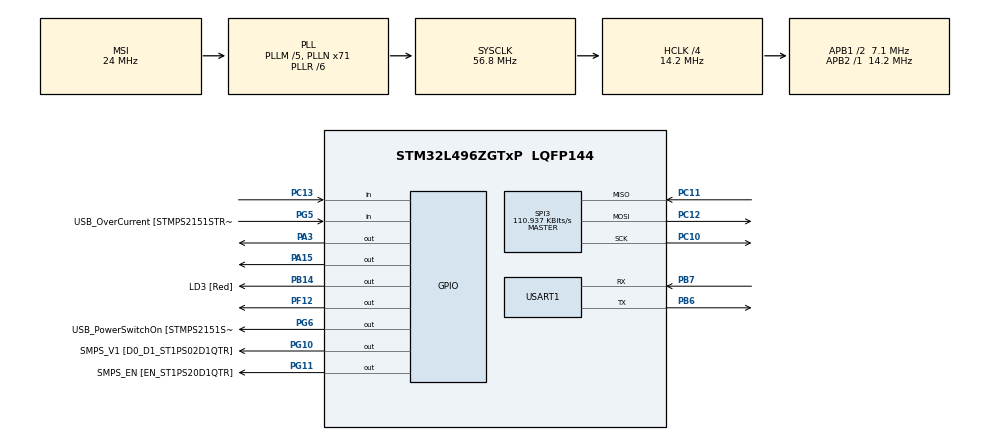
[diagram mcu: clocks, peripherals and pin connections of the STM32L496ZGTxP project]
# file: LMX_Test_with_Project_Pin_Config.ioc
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Mcu.Family=STM32L4
Mcu.Name=STM32L496ZGTxP
Mcu.Package=LQFP144
NVIC.PriorityGroup=NVIC_PRIORITYGROUP_4
PA10.GPIO_Label=USB_ID
PA10.Signal=USB_OTG_FS_ID
PA11.GPIO_Label=USB_DM
PA11.Signal=USB_OTG_FS_DM
PA12.GPIO_Label=USB_DP
PA12.Signal=USB_OTG_FS_DP
PA13\ (JTMS/SWDIO).GPIO_Label=TMS
PA13\ (JTMS/SWDIO).Mode=Trace_Asynchronous_SW
PA13\ (JTMS/SWDIO).Signal=SYS_JTMS-SWDIO
PA14\ (JTCK/SWCLK).GPIO_Label=TCK
PA14\ (JTCK/SWCLK).Mode=Trace_Asynchronous_SW
PA14\ (JTCK/SWCLK).Signal=SYS_JTCK-SWCLK
PA15\ (JTDI).Signal=GPIO_Output
PA3.Signal=GPIO_Output
PA5.Signal=SPI1_SCK
PA6.Signal=SPI1_MISO
PA7.Signal=SPI1_MOSI
PA8.GPIO_Label=USB_SOF [TP1]
PA8.Signal=USB_OTG_FS_SOF
PA9.GPIO_Label=USB_VBUS
PA9.Signal=USB_OTG_FS_VBUS
PB14.GPIO_Label=LD3 [Red]
PB14.Signal=GPIO_Output
PB3\ (JTDO/TRACESWO).GPIO_Label=SWO
PB3\ (JTDO/TRACESWO).Mode=Trace_Asynchronous_SW
PB3\ (JTDO/TRACESWO).Signal=SYS_JTDO-SWO
PB6.Mode=Asynchronous
PB6.Signal=USART1_TX
PB7.Mode=Asynchronous
PB7.Signal=USART1_RX
PC10.Mode=Full_Duplex_Master
PC10.Signal=SPI3_SCK
PC11.Mode=Full_Duplex_Master
PC11.Signal=SPI3_MISO
PC12.Mode=Full_Duplex_Master
PC12.Signal=SPI3_MOSI
PC13.Signal=GPIO_Input
PC14-OSC32_IN\ (PC14).Mode=LSE-External-Oscillator
PC14-OSC32_IN\ (PC14).Signal=RCC_OSC32_IN
PC15-OSC32_OUT\ (PC15).Mode=LSE-External-Oscillator
PC15-OSC32_OUT\ (PC15).Signal=RCC_OSC32_OUT
PF12.Signal=GPIO_Output
PG10.GPIO_Label=SMPS_V1 [D0_D1_ST1PS02D1QTR]
PG10.Signal=GPIO_Output
PG11.GPIO_Label=SMPS_EN [EN_ST1PS20D1QTR]
PG11.Signal=GPIO_Output
PG5.GPIO_Label=USB_OverCurrent [STMPS2151STR_FAULT]
PG5.Signal=GPIO_Input
PG6.GPIO_Label=USB_PowerSwitchOn [STMPS2151STR_EN]
PG6.Signal=GPIO_Output
PH0-OSC_IN\ (PH0).GPIO_Label=MCO
PH0-OSC_IN\ (PH0).Signal=RCC_OSC_IN
PH1-OSC_OUT\ (PH1).Signal=RCC_OSC_OUT
ProjectManager.HeapSize=0x200
ProjectManager.StackSize=0x400
ProjectManager.TargetToolchain=STM32CubeIDE
RCC.48MHZClocksFreq_Value=24000000
RCC.ADCFreq_Value=48000000
RCC.AHBCLKDivider=RCC_SYSCLK_DIV4
RCC.AHBFreq_Value=14200000
RCC.APB1CLKDivider=RCC_HCLK_DIV2
RCC.APB1Freq_Value=7100000
RCC.APB1TimFreq_Value=14200000
RCC.APB2Freq_Value=14200000
RCC.APB2TimFreq_Value=14200000
RCC.CortexFreq_Value=14200000
RCC.HCLKFreq_Value=14200000
RCC.HSE_VALUE=8000000
RCC.HSI48_VALUE=48000000
RCC.HSI_VALUE=16000000
RCC.MSIClockRange=RCC_MSIRANGE_9
RCC.MSI_VALUE=24000000
RCC.PLLM=5
RCC.PLLMUL=RCC_PLL_MUL9
RCC.PLLN=71
RCC.PLLR=RCC_PLLR_DIV6
RCC.PLLSAI1N=20
RCC.PRESCALERUSB=RCC_USBCLKSOURCE_PLL_DIV1_5
RCC.SYSCLKFreq_VALUE=56800000
RCC.SYSCLKSource=RCC_SYSCLKSOURCE_PLLCLK
RCC.SYSCLKSourceVirtual=RCC_SYSCLKSOURCE_PLLCLK
RCC.USBFreq_Value=48000000
RCC.VCOOutputFreq_Value=340800000
SPI3.BaudRatePrescaler=SPI_BAUDRATEPRESCALER_64
SPI3.CLKPhase=SPI_PHASE_2EDGE
SPI3.CLKPolarity=SPI_POLARITY_HIGH
SPI3.CalculateBaudRate=110.937 KBits/s
SPI3.DataSize=SPI_DATASIZE_8BIT
SPI3.Direction=SPI_DIRECTION_2LINES
SPI3.Mode=SPI_MODE_MASTER
SPI3.VirtualType=VM_MASTER
USART1.VirtualMode-Asynchronous=VM_ASYNC
board=NUCLEO-L496ZG-P

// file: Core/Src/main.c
/* USER CODE BEGIN Header */
/**
  ******************************************************************************
  * @file           : main.c
  * @brief          : Main program body
  * @Author	    : Ronak Sharma
  ******************************************************************************
  * @attention
  * Make sure to See the Baudrate of Slave device, Set the Baudrate accordingly
  *
  * Copyright (c) 2022 STMicroelectronics.
  * All rights reserved.
  *
  * This software is licensed under terms that can be found in the LICENSE file
  * in the root directory of this software component.
  * If no LICENSE file comes with this software, it is provided AS-IS.
  *
  ******************************************************************************
  */
/* USER CODE END Header */
#include "main.h"

/* USER CODE BEGIN Includes */
#include<stdio.h>
#include<string.h>
/* USER CODE END Includes */

SPI_HandleTypeDef hspi3;

UART_HandleTypeDef huart1;

/* USER CODE BEGIN PV */

//uint8_t spiData[2];
/*
uint8_t Rx_Adr;
uint8_t Rx_data[2];
uint8_t Buf[50]="Application is Running\r\n";
uint8_t Tx_R41[3]={0x29,0x00,0x00};
*/
/* USER CODE END PV */

void SystemClock_Config(void);
static void MX_GPIO_Init(void);
static void MX_USART1_UART_Init(void);
static void MX_SPI3_Init(void);
/* USER CODE BEGIN PFP */
static void test41(void);
void LMX_default_RegConfig_Value_7point5_GHz(void);
/* USER CODE END PFP */

int main(void)
{
  /* USER CODE BEGIN 1 */
	//uint8_t Tx_R44[3]={0x2C,0x00,0x00};
	//uint8_t Tx_R45[3]={0x2D,0x00,0x00};
	//uint8_t Tx_R36[3]={0x24,0x00,0x41};
	//uint8_t Tx_R43[3]={0x2B,0x00,0x00};
	//uint8_t Tx_R0[3]={0x00,0x40,0x70};
	//uint8_t Rx_Adr;
	//uint8_t Rx_data[2];
	uint8_t Buf[50]="Application is Running\r\n";

  /* USER CODE END 1 */

  /* MCU Configuration--------------------------------------------------------*/

  /* Reset of all peripherals, Initializes the Flash interface and the Systick. */
  HAL_Init();

  /* Configure the system clock */
  SystemClock_Config();

  /* Initialize all configured peripherals */
  MX_GPIO_Init();
  MX_USART1_UART_Init();
  MX_SPI3_Init();
  /* USER CODE BEGIN 2 */
  HAL_UART_Transmit(&huart1, Buf, strlen((char*)Buf), 100);

  strcpy((char*)Buf,"\nIn the Main loop\r\n");
  HAL_UART_Transmit(&huart1, Buf, strlen((char*)Buf), 100);

  LMX_default_RegConfig_Value_7point5_GHz();

  /* USER CODE END 2 */

  /* Infinite loop */
  while (1)
  {

    /* USER CODE BEGIN 3 */
/*
	  HAL_GPIO_WritePin(GPIOA, GPIO_PIN_15, GPIO_PIN_SET);
	  while(!HAL_GPIO_ReadPin(GPIOC, GPIO_PIN_13));
	  HAL_Delay(200);
*/

	  strcpy((char*)Buf,"\nIn the Main loop\r\n");
	  HAL_UART_Transmit(&huart1, Buf, strlen((char*)Buf), 100);

	  LMX_default_RegConfig_Value_7point5_GHz();

	  while(!HAL_GPIO_ReadPin(GPIOC, GPIO_PIN_13));
	  HAL_Delay(200);

	  test41();
/*

	  HAL_GPIO_WritePin(GPIOA, GPIO_PIN_15, GPIO_PIN_RESET); //CS pin low
	  HAL_SPI_Transmit(&hspi3, Tx_R0, 3, 100); // SPI Transimt
	  HAL_GPIO_WritePin(GPIOA, GPIO_PIN_15, GPIO_PIN_SET); //CS high

	  //Start SPI Transmit
	  HAL_GPIO_WritePin(GPIOA, GPIO_PIN_15, GPIO_PIN_RESET); //CS pin low
	  //HAL_SPI_Transmit(&hspi3, Tx_R44, 3, 100); // SPI Transimt
	 // HAL_SPI_Transmit(&hspi3, Tx_R45, 3, 100); // SPI Transimt
	  HAL_SPI_Transmit(&hspi3, Tx_R36, 3, 100); // SPI Transimt
	 // HAL_SPI_Transmit(&hspi3, Tx_R43, 3, 100); // SPI Transimt
	 // HAL_SPI_Transmit(&hspi3, Tx_R0, 3, 100); // SPI Transimt
	  HAL_GPIO_WritePin(GPIOA, GPIO_PIN_15, GPIO_PIN_SET); //CS high

	  HAL_GPIO_WritePin(GPIOA, GPIO_PIN_15, GPIO_PIN_RESET); //CS pin low
	  HAL_SPI_Transmit(&hspi3, Tx_R0, 3, 100); // SPI Transimt
	  HAL_GPIO_WritePin(GPIOA, GPIO_PIN_15, GPIO_PIN_SET); //CS high

	  HAL_Delay(50);
	  strcpy((char*)Buf,"Data Sent\r\n");
	  HAL_UART_Transmit(&huart1, Buf, strlen((char*)Buf), 100);

	  // Start SPI Receive
	  Rx_Adr=0xA4;
	  HAL_GPIO_WritePin(GPIOA, GPIO_PIN_15, GPIO_PIN_RESET); //CS pin low
	  HAL_SPI_Transmit(&hspi3, &Rx_Adr, 1, 100); // SPI Transimt
	  HAL_SPI_Receive(&hspi3, Rx_data, 2, 100);
	  HAL_GPIO_WritePin(GPIOA, GPIO_PIN_15, GPIO_PIN_SET); //CS high
	  sprintf((char*)Buf,"\n\rReceive data is : 0x%X 0x%X",Rx_data[0],Rx_data[1]);
	  HAL_UART_Transmit(&huart1, Buf, strlen((char*)Buf), 100);

	  Rx_Adr=0x80;
	  HAL_GPIO_WritePin(GPIOA, GPIO_PIN_15, GPIO_PIN_RESET); //CS pin low
	  HAL_SPI_Transmit(&hspi3, &Rx_Adr, 1, 100); // SPI Transimt
	  HAL_SPI_Receive(&hspi3, Rx_data, 2, 100);
	  HAL_GPIO_WritePin(GPIOA, GPIO_PIN_15, GPIO_PIN_SET); //CS high
	  sprintf((char*)Buf,"\nReceive data is : 0x%X 0x%X",Rx_data[0],Rx_data[1]);
	  HAL_UART_Transmit(&huart1, Buf, strlen((char*)Buf), 100);
	*/

  }
  /* USER CODE END 3 */
}

/*
 * @brief Test41 Register R41 to test the value
 * @retval None
 */
void test41(void){
	static uint8_t i=0x00;
	static uint8_t k=0x00;
	uint8_t Tx_R41[3]={0x29,k,i};
	uint8_t Rx_41_Adr=0xA9;
	uint8_t Rx_41_data[2];

	uint8_t Buf[50];
	uint8_t Tx_R0[3]={0x00,0x40,0x70};
	uint8_t ch;

	//uint8_t Rx_Adr;
	//uint8_t Rx_data[2];

	strcpy((char*)Buf,"\nIn the Test Function loop\r\n");
	HAL_UART_Transmit(&huart1, Buf, strlen((char*)Buf), 100);

	 while(i<256){

	 Tx_R41[2]=i;

	 ///////////////////////////////////////////////////////////////////////////////////////
	 strcpy((char*)Buf,"\n\rEnter number 1 to chage the phase shift: ");
	 HAL_UART_Transmit(&huart1, Buf, strlen((char*)Buf),100);

	 HAL_UART_Receive(&huart1, &ch, 1, HAL_MAX_DELAY);

	 while(ch!=49);
	 //strcpy((char*)Buf,"\n\rI am executing ");
	 //HAL_UART_Transmit(&huart1, Buf, strlen((char*)Buf),100);
	 ch=0;
	////////////////////////////////////////////////////////////////////////////////////////

	 //while(!HAL_GPIO_ReadPin(GPIOC, GPIO_PIN_13));
	 HAL_Delay(200);

	 HAL_GPIO_WritePin(GPIOA, GPIO_PIN_15, GPIO_PIN_RESET); //CS pin low
	 HAL_SPI_Transmit(&hspi3, Tx_R41, 3, 100); // SPI Transimt
	 HAL_GPIO_WritePin(GPIOA, GPIO_PIN_15, GPIO_PIN_SET); //CS high

	 HAL_GPIO_WritePin(GPIOA, GPIO_PIN_15, GPIO_PIN_RESET); //CS pin low
	 HAL_SPI_Transmit(&hspi3, Tx_R0, 3, 100); // SPI Transimt
	 HAL_GPIO_WritePin(GPIOA, GPIO_PIN_15, GPIO_PIN_SET); //CS high

	 HAL_GPIO_WritePin(GPIOA, GPIO_PIN_15, GPIO_PIN_RESET); //CS pin low
	 HAL_SPI_Transmit(&hspi3, &Rx_41_Adr, 1, 100); // SPI Transimt
	 HAL_SPI_Receive(&hspi3, Rx_41_data, 2, 100);
	 HAL_GPIO_WritePin(GPIOA, GPIO_PIN_15, GPIO_PIN_SET); //CS high
	 sprintf((char*)Buf,"\nReceive data is : 0x%X 0x%X",Rx_41_data[0],Rx_41_data[1]);
	 HAL_UART_Transmit(&huart1, Buf, strlen((char*)Buf), 100);

	 i=i+5;
	 }

	 while(k<106){

	 	 Tx_R41[1]=k;
	 	 while(!HAL_GPIO_ReadPin(GPIOC, GPIO_PIN_13));
	 	 HAL_Delay(200);

	 	 HAL_GPIO_WritePin(GPIOA, GPIO_PIN_15, GPIO_PIN_RESET); //CS pin low
	 	 HAL_SPI_Transmit(&hspi3, Tx_R41, 3, 100); // SPI Transimt
	 	 HAL_GPIO_WritePin(GPIOA, GPIO_PIN_15, GPIO_PIN_SET); //CS high

	 	 HAL_GPIO_WritePin(GPIOA, GPIO_PIN_15, GPIO_PIN_RESET); //CS pin low
	 	 HAL_SPI_Transmit(&hspi3, Tx_R0, 3, 100); // SPI Transimt
	 	 HAL_GPIO_WritePin(GPIOA, GPIO_PIN_15, GPIO_PIN_SET); //CS high

	 	 HAL_GPIO_WritePin(GPIOA, GPIO_PIN_15, GPIO_PIN_RESET); //CS pin low
	 	 HAL_SPI_Transmit(&hspi3, &Rx_41_Adr, 1, 100); // SPI Transimt
	 	 HAL_SPI_Receive(&hspi3, Rx_41_data, 2, 100);
	 	 HAL_GPIO_WritePin(GPIOA, GPIO_PIN_15, GPIO_PIN_SET); //CS high
	 	 sprintf((char*)Buf,"\nReceive data is : 0x%X 0x%X",Rx_41_data[0],Rx_41_data[1]);
	 	 HAL_UART_Transmit(&huart1, Buf, strlen((char*)Buf), 100);

	 	 k=k+5;
	 	 }

}

/*
 * @brief Default function for LMX setup
 * @Param None
 * @retval None
 */

void LMX_default_RegConfig_Value_7point5_GHz(void){

	int R[123]={0x7A0000 ,0x790000 ,0x780000 ,0x770009 ,0x760000 ,0x750000 ,0x740EEE ,0x73DF8F ,0x72C00B ,0x718221 ,0x70FFFF ,0x6F0000 ,0x6E001F ,0x6D0000 ,0x6C0000 ,0x6B0000 ,
			0x6A0000 ,0x69000A ,0x680014 ,0x670014 ,0x660028 ,0x6503E8 ,0x640533 ,0x6319B9 ,0x621C80 ,0x610000 ,0x6017F8 ,0x5F0000 ,0x5E0000 ,0x5D1000 ,0x5C0000 ,0x5B0000 ,
			0x5A0000 ,0x590000 ,0x5803FF ,0x57FF00 ,0x560040 ,0x550000 ,0x540040 ,0x530F00 ,0x520000 ,0x510000 ,0x5001C0 ,0x4F0112 ,0x4E0001 ,0x4D06CC ,0x4C0243 ,0x4B1350 ,
			0x4A97E5 ,0x499D7D ,0x480008 ,0x478801 ,0x46001E ,0x450011 ,0x440000 ,0x430000 ,0x42003F ,0x410001 ,0x404080 ,0x3FC350 ,0x3E0000 ,0x3D03E8 ,0x3C01F4 ,0x3B1388 ,
			0x3A0000 ,0x390001 ,0x380001 ,0x370002 ,0x360000 ,0x350000 ,0x340000 ,0x33203F ,0x320080 ,0x310000 ,0x304180 ,0x2F0300 ,0x2E0300 ,0x2D0000 ,0x2C0000 ,0x2B0000 ,
			0x2A0000 ,0x290000 ,0x280000 ,0x270168 ,0x260000 ,0x250500 ,0x240039 ,0x233140 ,0x220010 ,0x210000 ,0x201141 ,0x1F0401 ,0x1EB18C ,0x1D318C ,0x1C0639 ,0x1B8001 ,
			0x1A0DB0 ,0x190624 ,0x180E34 ,0x171103 ,0x162281 ,0x151C64 ,0x142750 ,0x132138 ,0x1203E8 ,0x111440 ,0x10271C ,0x0F2001 ,0x0E3001 ,0x0D0038 ,0x0C0408 ,0x0B0603 ,
			0x0A0880 ,0x090005 ,0x08C802 ,0x0700C8 ,0x060A43 ,0x053832 ,0x044204 ,0x030041 ,0x0281F4 ,0x01D7A0 ,0x004070 };

	uint8_t S_Buf[50];
	uint8_t Adr;
	uint8_t data[2];

	Adr=0x00;
	data[0]=0x00;
	data[1]=0x00;

	for(int8_t i=0;i<=15;i++)
		{
			//Bit wise operations to get the address and data to be sent
			Adr = (R[i] & 0xFF0000)>>16;
			data[0]=(R[i] & 0xFF00)>>8;
			data[1]=(R[i] & 0xFF);

			sprintf((char *)S_Buf,"Address and Data : 0x%X 0x%X 0x%X \n",Adr,data[0],data[1]);
			HAL_UART_Transmit(&huart1, S_Buf, strlen((char*)S_Buf),100);

			HAL_GPIO_WritePin(GPIOA, GPIO_PIN_15, GPIO_PIN_RESET);//CS Pin low
			HAL_SPI_Transmit(&hspi3, &Adr, 1, 100); //Transmit address
			HAL_SPI_Transmit(&hspi3, &data[0], 2, 100); //Transmit data
			HAL_GPIO_WritePin(GPIOA, GPIO_PIN_15, GPIO_PIN_SET); // CS pin High
		}
	HAL_Delay(10);

	for(int8_t i=16;i<=31;i++)
		{
			//Bit wise operations to get the address and data to be sent
			Adr = (R[i] & 0xFF0000)>>16;
			data[0]=(R[i] & 0xFF00)>>8;
			data[1]=(R[i] & 0xFF);

			sprintf((char *)S_Buf,"Address and Data : 0x%X 0x%X 0x%X \n",Adr,data[0],data[1]);
			HAL_UART_Transmit(&huart1, S_Buf, strlen((char*)S_Buf),100);

			HAL_GPIO_WritePin(GPIOA, GPIO_PIN_15, GPIO_PIN_RESET);//CS Pin low
			HAL_SPI_Transmit(&hspi3, &Adr, 1, 100); //Transmit address
			HAL_SPI_Transmit(&hspi3, &data[0], 2, 100); //Transmit data
			HAL_GPIO_WritePin(GPIOA, GPIO_PIN_15, GPIO_PIN_SET); // CS pin High
		}
	HAL_Delay(10);

	for(int8_t i=32;i<=47;i++)
		{
			//Bit wise operations to get the address and data to be sent
			Adr = (R[i] & 0xFF0000)>>16;
			data[0]=(R[i] & 0xFF00)>>8;
			data[1]=(R[i] & 0xFF);

			sprintf((char *)S_Buf,"Address and Data : 0x%X 0x%X 0x%X \n",Adr,data[0],data[1]);
			HAL_UART_Transmit(&huart1, S_Buf, strlen((char*)S_Buf),100);

			HAL_GPIO_WritePin(GPIOA, GPIO_PIN_15, GPIO_PIN_RESET);//CS Pin low
			HAL_SPI_Transmit(&hspi3, &Adr, 1, 100); //Transmit address
			HAL_SPI_Transmit(&hspi3, &data[0], 2, 100); //Transmit data
			HAL_GPIO_WritePin(GPIOA, GPIO_PIN_15, GPIO_PIN_SET); // CS pin High
		}
	HAL_Delay(10);

	for(int8_t i=48;i<=63;i++)
		{
			//Bit wise operations to get the address and data to be sent
			Adr = (R[i] & 0xFF0000)>>16;
			data[0]=(R[i] & 0xFF00)>>8;
			data[1]=(R[i] & 0xFF);

			sprintf((char *)S_Buf,"Address and Data : 0x%X 0x%X 0x%X \n",Adr,data[0],data[1]);
			HAL_UART_Transmit(&huart1, S_Buf, strlen((char*)S_Buf),100);

			HAL_GPIO_WritePin(GPIOA, GPIO_PIN_15, GPIO_PIN_RESET);//CS Pin low
			HAL_SPI_Transmit(&hspi3, &Adr, 1, 100); //Transmit address
			HAL_SPI_Transmit(&hspi3, &data[0], 2, 100); //Transmit data
			HAL_GPIO_WritePin(GPIOA, GPIO_PIN_15, GPIO_PIN_SET); // CS pin High
		}
	HAL_Delay(10);

	for(int8_t i=64;i<=79;i++)
		{
			//Bit wise operations to get the address and data to be sent
			Adr = (R[i] & 0xFF0000)>>16;
			data[0]=(R[i] & 0xFF00)>>8;
			data[1]=(R[i] & 0xFF);

			sprintf((char *)S_Buf,"Address and Data : 0x%X 0x%X 0x%X \n",Adr,data[0],data[1]);
			HAL_UART_Transmit(&huart1, S_Buf, strlen((char*)S_Buf),100);

			HAL_GPIO_WritePin(GPIOA, GPIO_PIN_15, GPIO_PIN_RESET);//CS Pin low
			HAL_SPI_Transmit(&hspi3, &Adr, 1, 100); //Transmit address
			HAL_SPI_Transmit(&hspi3, &data[0], 2, 100); //Transmit data
			HAL_GPIO_WritePin(GPIOA, GPIO_PIN_15, GPIO_PIN_SET); // CS pin High
		}
	HAL_Delay(10);

	for(int8_t i=80;i<=95;i++)
		{
			//Bit wise operations to get the address and data to be sent
			Adr = (R[i] & 0xFF0000)>>16;
			data[0]=(R[i] & 0xFF00)>>8;
			data[1]=(R[i] & 0xFF);

			sprintf((char *)S_Buf,"Address and Data : 0x%X 0x%X 0x%X \n",Adr,data[0],data[1]);
			HAL_UART_Transmit(&huart1, S_Buf, strlen((char*)S_Buf),100);

			HAL_GPIO_WritePin(GPIOA, GPIO_PIN_15, GPIO_PIN_RESET);//CS Pin low
			HAL_SPI_Transmit(&hspi3, &Adr, 1, 100); //Transmit address
			HAL_SPI_Transmit(&hspi3, &data[0], 2, 100); //Transmit data
			HAL_GPIO_WritePin(GPIOA, GPIO_PIN_15, GPIO_PIN_SET); // CS pin High
		}
	HAL_Delay(10);

	for(int8_t i=96;i<=111;i++)
		{
			//Bit wise operations to get the address and data to be sent
			Adr = (R[i] & 0xFF0000)>>16;
			data[0]=(R[i] & 0xFF00)>>8;
			data[1]=(R[i] & 0xFF);

			sprintf((char *)S_Buf,"Address and Data : 0x%X 0x%X 0x%X \n",Adr,data[0],data[1]);
			HAL_UART_Transmit(&huart1, S_Buf, strlen((char*)S_Buf),100);

			HAL_GPIO_WritePin(GPIOA, GPIO_PIN_15, GPIO_PIN_RESET);//CS Pin low
			HAL_SPI_Transmit(&hspi3, &Adr, 1, 100); //Transmit address
			HAL_SPI_Transmit(&hspi3, &data[0], 2, 100); //Transmit data
			HAL_GPIO_WritePin(GPIOA, GPIO_PIN_15, GPIO_PIN_SET); // CS pin High
		}
	HAL_Delay(10);

	for(int8_t i=112;i<=122;i++)
		{
			//Bit wise operations to get the address and data to be sent
			Adr = (R[i] & 0xFF0000)>>16;
			data[0]=(R[i] & 0xFF00)>>8;
			data[1]=(R[i] & 0xFF);

			sprintf((char *)S_Buf,"Address and Data : 0x%X 0x%X 0x%X \n",Adr,data[0],data[1]);
			HAL_UART_Transmit(&huart1, S_Buf, strlen((char*)S_Buf),100);

			HAL_GPIO_WritePin(GPIOA, GPIO_PIN_15, GPIO_PIN_RESET);//CS Pin low
			HAL_SPI_Transmit(&hspi3, &Adr, 1, 100); //Transmit address
			HAL_SPI_Transmit(&hspi3, &data[0], 2, 100); //Transmit data
			HAL_GPIO_WritePin(GPIOA, GPIO_PIN_15, GPIO_PIN_SET); // CS pin High
		}
	HAL_Delay(10);

   strcpy((char *)S_Buf,"All registers are set for Default values \n");
   HAL_UART_Transmit(&huart1, S_Buf, strlen((char*)S_Buf),1000);

}

void SystemClock_Config(void)
{
  RCC_OscInitTypeDef RCC_OscInitStruct = {0};
  RCC_ClkInitTypeDef RCC_ClkInitStruct = {0};

  /** Configure the main internal regulator output voltage
  */
  if (HAL_PWREx_ControlVoltageScaling(PWR_REGULATOR_VOLTAGE_SCALE1) != HAL_OK)
  {
    Error_Handler();
  }

  /** Initializes the RCC Oscillators according to the specified parameters
  * in the RCC_OscInitTypeDef structure.
  */
  RCC_OscInitStruct.OscillatorType = RCC_OSCILLATORTYPE_MSI;
  RCC_OscInitStruct.MSIState = RCC_MSI_ON;
  RCC_OscInitStruct.MSICalibrationValue = 0;
  RCC_OscInitStruct.MSIClockRange = RCC_MSIRANGE_9;
  RCC_OscInitStruct.PLL.PLLState = RCC_PLL_ON;
  RCC_OscInitStruct.PLL.PLLSource = RCC_PLLSOURCE_MSI;
  RCC_OscInitStruct.PLL.PLLM = 5;
  RCC_OscInitStruct.PLL.PLLN = 71;
  RCC_OscInitStruct.PLL.PLLP = RCC_PLLP_DIV2;
  RCC_OscInitStruct.PLL.PLLQ = RCC_PLLQ_DIV2;
  RCC_OscInitStruct.PLL.PLLR = RCC_PLLR_DIV6;
  if (HAL_RCC_OscConfig(&RCC_OscInitStruct) != HAL_OK)
  {
    Error_Handler();
  }

  /** Initializes the CPU, AHB and APB buses clocks
  */
  RCC_ClkInitStruct.ClockType = RCC_CLOCKTYPE_HCLK|RCC_CLOCKTYPE_SYSCLK
                              |RCC_CLOCKTYPE_PCLK1|RCC_CLOCKTYPE_PCLK2;
  RCC_ClkInitStruct.SYSCLKSource = RCC_SYSCLKSOURCE_PLLCLK;
  RCC_ClkInitStruct.AHBCLKDivider = RCC_SYSCLK_DIV4;
  RCC_ClkInitStruct.APB1CLKDivider = RCC_HCLK_DIV2;
  RCC_ClkInitStruct.APB2CLKDivider = RCC_HCLK_DIV1;

  if (HAL_RCC_ClockConfig(&RCC_ClkInitStruct, FLASH_LATENCY_0) != HAL_OK)
  {
    Error_Handler();
  }
}

static void MX_SPI3_Init(void)
{

  /* SPI3 parameter configuration*/
  hspi3.Instance = SPI3;
  hspi3.Init.Mode = SPI_MODE_MASTER;
  hspi3.Init.Direction = SPI_DIRECTION_2LINES;
  hspi3.Init.DataSize = SPI_DATASIZE_8BIT;
  hspi3.Init.CLKPolarity = SPI_POLARITY_HIGH;
  hspi3.Init.CLKPhase = SPI_PHASE_2EDGE;
  hspi3.Init.NSS = SPI_NSS_SOFT;
  hspi3.Init.BaudRatePrescaler = SPI_BAUDRATEPRESCALER_64;
  hspi3.Init.FirstBit = SPI_FIRSTBIT_MSB;
  hspi3.Init.TIMode = SPI_TIMODE_DISABLE;
  hspi3.Init.CRCCalculation = SPI_CRCCALCULATION_DISABLE;
  hspi3.Init.CRCPolynomial = 7;
  hspi3.Init.CRCLength = SPI_CRC_LENGTH_DATASIZE;
  hspi3.Init.NSSPMode = SPI_NSS_PULSE_DISABLE;
  if (HAL_SPI_Init(&hspi3) != HAL_OK)
  {
    Error_Handler();
  }

}

static void MX_USART1_UART_Init(void)
{

  huart1.Instance = USART1;
  huart1.Init.BaudRate = 9600;
  huart1.Init.WordLength = UART_WORDLENGTH_8B;
  huart1.Init.StopBits = UART_STOPBITS_1;
  huart1.Init.Parity = UART_PARITY_NONE;
  huart1.Init.Mode = UART_MODE_TX_RX;
  huart1.Init.HwFlowCtl = UART_HWCONTROL_NONE;
  huart1.Init.OverSampling = UART_OVERSAMPLING_16;
  huart1.Init.OneBitSampling = UART_ONE_BIT_SAMPLE_DISABLE;
  huart1.AdvancedInit.AdvFeatureInit = UART_ADVFEATURE_NO_INIT;
  if (HAL_UART_Init(&huart1) != HAL_OK)
  {
    Error_Handler();
  }

}

static void MX_GPIO_Init(void)
{
  GPIO_InitTypeDef GPIO_InitStruct = {0};

  /* GPIO Ports Clock Enable */
  __HAL_RCC_GPIOC_CLK_ENABLE();
  __HAL_RCC_GPIOH_CLK_ENABLE();
  __HAL_RCC_GPIOA_CLK_ENABLE();
  __HAL_RCC_GPIOF_CLK_ENABLE();
  __HAL_RCC_GPIOB_CLK_ENABLE();
  __HAL_RCC_GPIOG_CLK_ENABLE();
  HAL_PWREx_EnableVddIO2();

  /*Configure GPIO pin Output Level */
  HAL_GPIO_WritePin(GPIOA, GPIO_PIN_3|GPIO_PIN_15, GPIO_PIN_RESET);

  /*Configure GPIO pin Output Level */
  HAL_GPIO_WritePin(GPIOF, GPIO_PIN_12, GPIO_PIN_RESET);

  /*Configure GPIO pin Output Level */
  HAL_GPIO_WritePin(LD3_GPIO_Port, LD3_Pin, GPIO_PIN_RESET);

  /*Configure GPIO pin Output Level */
  HAL_GPIO_WritePin(GPIOG, USB_PowerSwitchOn_Pin|SMPS_V1_Pin|SMPS_EN_Pin, GPIO_PIN_RESET);

  /*Configure GPIO pin : PC13 */
  GPIO_InitStruct.Pin = GPIO_PIN_13;
  GPIO_InitStruct.Mode = GPIO_MODE_INPUT;
  GPIO_InitStruct.Pull = GPIO_NOPULL;
  HAL_GPIO_Init(GPIOC, &GPIO_InitStruct);

  /*Configure GPIO pins : PA3 PA15 */
  GPIO_InitStruct.Pin = GPIO_PIN_3|GPIO_PIN_15;
  GPIO_InitStruct.Mode = GPIO_MODE_OUTPUT_PP;
  GPIO_InitStruct.Pull = GPIO_NOPULL;
  GPIO_InitStruct.Speed = GPIO_SPEED_FREQ_LOW;
  HAL_GPIO_Init(GPIOA, &GPIO_InitStruct);

  /*Configure GPIO pins : PA5 PA6 PA7 */
  GPIO_InitStruct.Pin = GPIO_PIN_5|GPIO_PIN_6|GPIO_PIN_7;
  GPIO_InitStruct.Mode = GPIO_MODE_AF_PP;
  GPIO_InitStruct.Pull = GPIO_NOPULL;
  GPIO_InitStruct.Speed = GPIO_SPEED_FREQ_VERY_HIGH;
  GPIO_InitStruct.Alternate = GPIO_AF5_SPI1;
  HAL_GPIO_Init(GPIOA, &GPIO_InitStruct);

  /*Configure GPIO pin : PF12 */
  GPIO_InitStruct.Pin = GPIO_PIN_12;
  GPIO_InitStruct.Mode = GPIO_MODE_OUTPUT_PP;
  GPIO_InitStruct.Pull = GPIO_NOPULL;
  GPIO_InitStruct.Speed = GPIO_SPEED_FREQ_LOW;
  HAL_GPIO_Init(GPIOF, &GPIO_InitStruct);

  /*Configure GPIO pin : LD3_Pin */
  GPIO_InitStruct.Pin = LD3_Pin;
  GPIO_InitStruct.Mode = GPIO_MODE_OUTPUT_PP;
  GPIO_InitStruct.Pull = GPIO_NOPULL;
  GPIO_InitStruct.Speed = GPIO_SPEED_FREQ_LOW;
  HAL_GPIO_Init(LD3_GPIO_Port, &GPIO_InitStruct);

  /*Configure GPIO pin : USB_OverCurrent_Pin */
  GPIO_InitStruct.Pin = USB_OverCurrent_Pin;
  GPIO_InitStruct.Mode = GPIO_MODE_INPUT;
  GPIO_InitStruct.Pull = GPIO_NOPULL;
  HAL_GPIO_Init(USB_OverCurrent_GPIO_Port, &GPIO_InitStruct);

  /*Configure GPIO pins : USB_PowerSwitchOn_Pin SMPS_V1_Pin SMPS_EN_Pin */
  GPIO_InitStruct.Pin = USB_PowerSwitchOn_Pin|SMPS_V1_Pin|SMPS_EN_Pin;
  GPIO_InitStruct.Mode = GPIO_MODE_OUTPUT_PP;
  GPIO_InitStruct.Pull = GPIO_NOPULL;
  GPIO_InitStruct.Speed = GPIO_SPEED_FREQ_LOW;
  HAL_GPIO_Init(GPIOG, &GPIO_InitStruct);

  /*Configure GPIO pins : USB_SOF_Pin USB_ID_Pin USB_DM_Pin USB_DP_Pin */
  GPIO_InitStruct.Pin = USB_SOF_Pin|USB_ID_Pin|USB_DM_Pin|USB_DP_Pin;
  GPIO_InitStruct.Mode = GPIO_MODE_AF_PP;
  GPIO_InitStruct.Pull = GPIO_NOPULL;
  GPIO_InitStruct.Speed = GPIO_SPEED_FREQ_VERY_HIGH;
  GPIO_InitStruct.Alternate = GPIO_AF10_OTG_FS;
  HAL_GPIO_Init(GPIOA, &GPIO_InitStruct);

}

void Error_Handler(void)
{
  __disable_irq();
  while (1)
  {
  }
}
